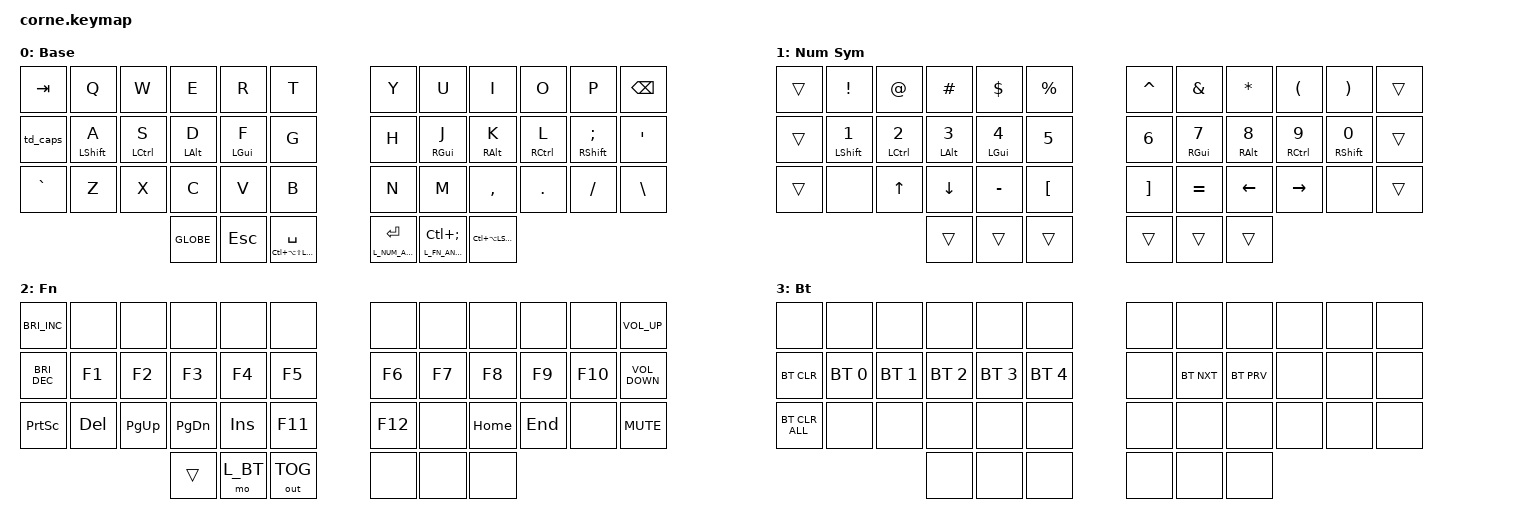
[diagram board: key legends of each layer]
/*
    Helpful repo: https://github.com/bmijanovich/zmk-config/blob/main/config/glove80.keymap
 */

#include <behaviors.dtsi>
#include <dt-bindings/zmk/keys.h>
#include <dt-bindings/zmk/bt.h>
#include <dt-bindings/zmk/outputs.h>

#define L_NUM_AND_SYM 1
#define L_FN_AND_KB   2
#define L_BT          3


#define TAPPING_TERM         200
#define TAPPING_TERM_PER_KEY
#define TAP_DANCE_TIMEOUT_MS 200

#define MT_TAPPING_TERM 180

#define HYPER LC(LA(LS(LGUI)))
#define MEH   LC(LA(LEFT_SHIFT))

&caps_word {
    continue-list = <UNDERSCORE MINUS LSHFT RSHFT>;
};

&lt {
   // retro-tap; // https://zmk.dev/docs/keymaps/behaviors/hold-tap#retro-tap
   flavor = "hold-preferred";
};

&mt {
    flavor = "tap-preferred";
    quick-tap-ms = <TAPPING_TERM>;
    require-prior-idle-ms = <200>; 
};

/ {
    behaviors {
        // press once for caps word, twich for caps lock
        td_caps: tap_dance_capsw_capsl { 
            compatible = "zmk,behavior-tap-dance";
            #binding-cells = <0>;
            tapping-term-ms = <TAP_DANCE_TIMEOUT_MS>;
            bindings = <&caps_word>, <&kp CAPS>;
        };

        hm: homerow_mods {
            compatible = "zmk,behavior-hold-tap";
            #binding-cells = <2>;
            tapping-term-ms = <200>;
            require-prior-idle-ms = <125>; // lifesaver
            quick-tap-ms = <200>;
            flavor = "tap-preferred";
            bindings = <&kp>, <&kp>;
        };
    };

    keymap {
        compatible = "zmk,keymap";

        base_layer: base_layer {
            display-name = "Base";
            bindings = <
                &kp TAB    &kp Q        &kp W        &kp E        &kp R       &kp T        &kp Y  &kp U       &kp I       &kp O        &kp P                &kp BSPC
                &td_caps   &hm LSHFT A  &hm LCTRL S  &hm LALT D   &hm LGUI F  &kp G        &kp H  &hm RGUI J  &hm RALT K  &hm RCTRL L  &hm RSHFT SEMICOLON  &kp SQT
                &kp GRAVE  &kp Z        &kp X        &kp C        &kp V       &kp B        &kp N  &kp M       &kp COMMA   &kp DOT      &kp FSLH             &kp BSLH

                       &kp GLOBE   &kp ESC   &mt HYPER SPACE                                    &lt L_NUM_AND_SYM RET   &lt L_FN_AND_KB LC(SEMICOLON)   &kp MEH
            >;
        };

        lower_layer: lower_layer {
            display-name = "Num Sym";
            bindings = <
                &trans    &kp EXCLAMATION    &kp AT_SIGN         &kp HASH           &kp DOLLAR         &kp PERCENT             &kp CARET          &kp AMPERSAND     &kp ASTERISK      &kp LEFT_PARENTHESIS  &kp RIGHT_PARENTHESIS  &trans
                &trans    &hm LSHFT NUMBER_1 &hm LCTRL NUMBER_2  &hm LALT NUMBER_3  &hm LGUI NUMBER_4  &kp NUMBER_5            &kp NUMBER_6       &hm RGUI NUMBER_7 &hm RALT NUMBER_8 &hm RCTRL NUMBER_9    &hm RSHFT NUMBER_0     &trans
                &trans    &none              &kp UP_ARROW        &kp DOWN_ARROW     &kp MINUS          &kp LEFT_BRACKET        &kp RIGHT_BRACKET  &kp EQUAL         &kp LEFT_ARROW    &kp RIGHT             &none                  &trans

                                             &trans        &trans          &trans                                                    &trans   &trans   &trans
            >;
        };

        raise_layer: raise_layer {
            display-name = "Fn";
            bindings = <
                &kp C_BRIGHTNESS_INC &none      &none       &none         &none        &none             &none        &none        &none        &none    &none    &kp C_VOLUME_UP
                &kp C_BRIGHTNESS_DEC &kp F1     &kp F2      &kp F3        &kp F4       &kp F5            &kp F6       &kp F7       &kp F8       &kp F9   &kp F10  &kp C_VOLUME_DOWN
                &kp PRINTSCREEN      &kp DELETE &kp PAGE_UP &kp PAGE_DOWN &kp INSERT   &kp F11           &kp F12      &none        &kp HOME     &kp END  &none    &kp K_MUTE

                                                            &trans        &mo L_BT     &out OUT_TOG      &none        &none        &none
            >;
        };

        
        bt_layer: bt_layer {
            display-name = "Bt";
            bindings = <
                &none          &none        &none        &none        &none        &none            &none &none       &none       &none &none &none
                &bt BT_CLR     &bt BT_SEL 0 &bt BT_SEL 1 &bt BT_SEL 2 &bt BT_SEL 3 &bt BT_SEL 4     &none &bt BT_NXT &bt BT_PRV   &none &none &none
                &bt BT_CLR_ALL &none        &none        &none        &none        &none            &none &none       &none       &none &none &none

                                            &none        &none        &none                               &none       &none       &none
            >;
        };

        
    };
};
